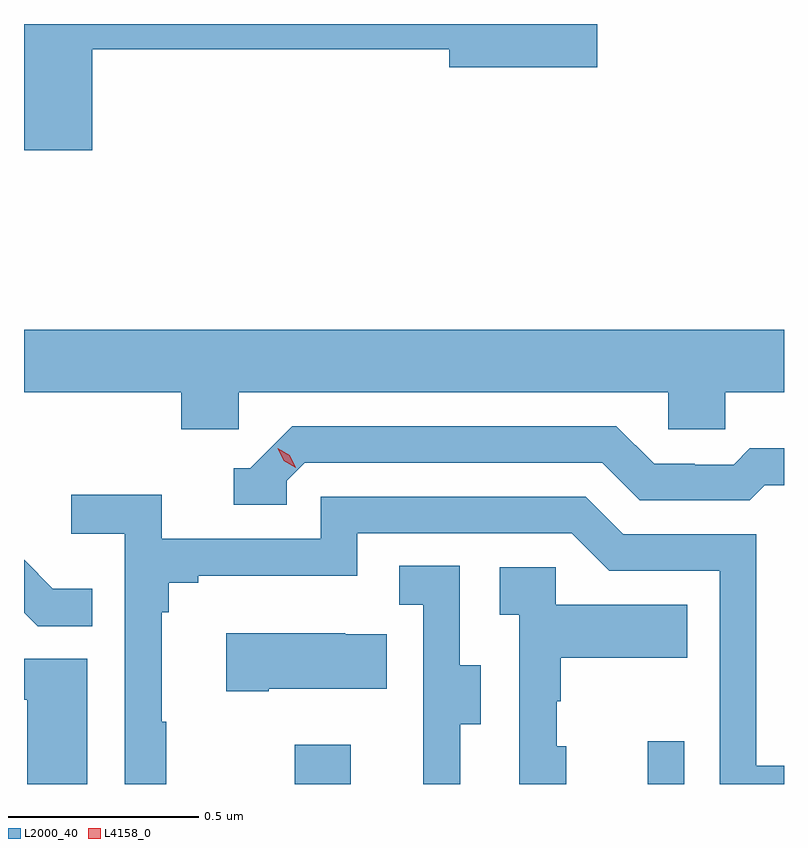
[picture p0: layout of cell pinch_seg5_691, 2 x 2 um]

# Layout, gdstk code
import gdstk
lib = gdstk.Library(unit=1e-6, precision=1e-09)
def R(c, l, rs):  # rectangles x0, y0, x1, y1
    for r in rs: c.add(gdstk.rectangle(r[:2], r[2:], *l))
def P(c, l, *ps):  # polygons
    for p in ps: c.add(gdstk.Polygon(p, *l))
L2000_40 = (2000, 40)
L4158_0 = (4158, 0)

pinch_seg5_691 = lib.new_cell('pinch_seg5_691')
R(pinch_seg5_691, L2000_40, [(1098.004,849.069,1098.151,849.172), (1098.932,849.069,1099.029,849.181)])
P(pinch_seg5_691, L2000_40, [(1097.471,851.002),(1098.41,851.002),(1098.41,850.955),(1098.799,850.955),(1098.799,851.069),(1097.291,851.069),(1097.291,850.737),(1097.471,850.737)],
  [(1097.856,850.1),(1098.987,850.1),(1098.987,850.002),(1099.137,850.002),(1099.137,850.1),(1099.291,850.1),(1099.291,850.264),(1097.291,850.264),(1097.291,850.1),(1097.705,850.1),(1097.705,850.002),(1097.856,850.002)],
  [(1097.982,849.867),(1098.03,849.915),(1098.813,849.915),(1098.912,849.816),(1099.201,849.816),(1099.24,849.855),(1099.291,849.855),(1099.291,849.952),(1099.201,849.952),(1099.159,849.909),(1099.056,849.909),(1099.056,849.912),(1098.949,849.912),(1098.85,850.011),(1097.997,850.011),(1097.886,849.9),(1097.843,849.9),(1097.843,849.804),(1097.982,849.804)],
  [(1097.665,849.233),(1097.653,849.233),(1097.653,849.521),(1097.672,849.521),(1097.672,849.598),(1097.749,849.598),(1097.749,849.617),(1098.168,849.617),(1098.168,849.729),(1098.732,849.729),(1098.831,849.63),(1099.122,849.63),(1099.122,849.069),(1099.291,849.069),(1099.291,849.117),(1099.218,849.117),(1099.218,849.726),(1098.868,849.726),(1098.769,849.825),(1098.072,849.825),(1098.072,849.714),(1097.654,849.714),(1097.654,849.83),(1097.415,849.83),(1097.415,849.728),(1097.556,849.728),(1097.556,849.069),(1097.665,849.069)],
  [(1097.471,849.583),(1097.367,849.583),(1097.291,849.659),(1097.291,849.52),(1097.327,849.484),(1097.471,849.484)],
  [(1098.439,849.226),(1098.493,849.226),(1098.493,849.381),(1098.438,849.381),(1098.438,849.644),(1098.279,849.644),(1098.279,849.541),(1098.342,849.541),(1098.342,849.237),(1098.341,849.237),(1098.341,849.069),(1098.439,849.069)],
  [(1098.718,849.168),(1098.693,849.168),(1098.693,849.287),(1098.703,849.287),(1098.703,849.401),(1099.037,849.401),(1099.037,849.541),(1098.69,849.541),(1098.69,849.639),(1098.543,849.639),(1098.543,849.515),(1098.594,849.515),(1098.594,849.069),(1098.718,849.069)],
  [(1097.935,849.32),(1098.245,849.32),(1098.245,849.463),(1098.137,849.463),(1098.137,849.466),(1097.823,849.466),(1097.823,849.313),(1097.935,849.313)],
  [(1097.458,849.399),(1097.291,849.399),(1097.291,849.291),(1097.3,849.291),(1097.3,849.069),(1097.458,849.069)])
P(pinch_seg5_691, L4158_0, [(1098.006,849.901),(1097.975,849.92),(1097.959,849.953),(1097.959,849.953),(1097.959,849.953),(1097.99,849.934),(1098.006,849.901),(1098.006,849.901)])

lib.write_gds('pinch_seg5_691.gds')
